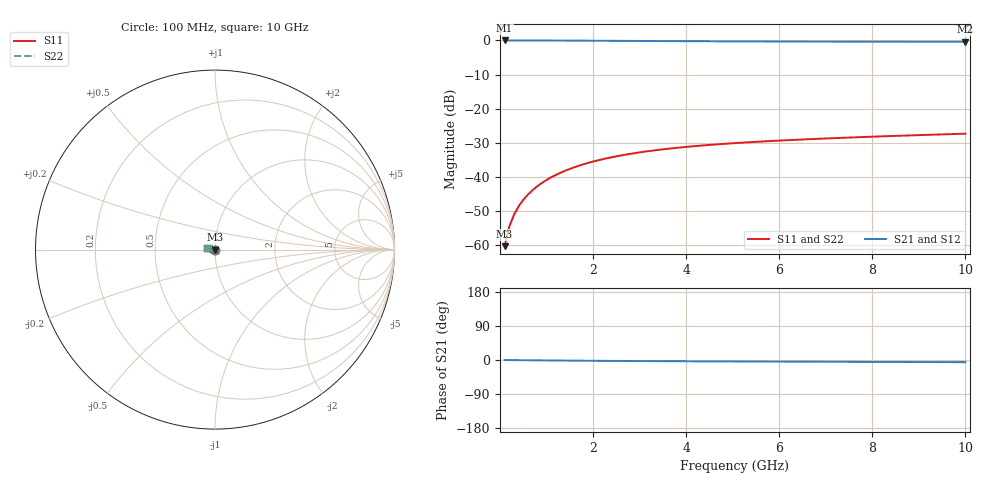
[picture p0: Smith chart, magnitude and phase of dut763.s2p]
! Touchstone file exported from HFSS 2024.1.0
!  File:  C:/UserFiles/LocalFiles/RDL_TSV_Batchsim/temp_TSV1_763_1779872640.aedt
!  Generated:  05:10:53 PM May 27, 2026
!  Design:  TSV1
!  Project:  temp_TSV1_763_1779872640
!  Setup:  Setup1
!  Solution:  Sweep
! Variables:
!  dtsv = 7.04um
!  hbump = 3um
!  htsv = 90.49um
!  lrdl = 252.1521522um
!  p = 40
!  p1 = 44.5um
!  t = 500um
!  trdl = 3um
!  wrdl = 24.89489489um
# GHz S MA R 50.000000
! Terminal data exported
! Port[1] = TSV22_T1
! Port[2] = TSV22_T2
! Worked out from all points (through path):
!   100 points, 100 MHz to 10 GHz, reference 50 ohm
!   highest |S21| = 0.00 dB at 100 MHz (marker M1); lowest = -0.4 dB at 10 GHz (marker M2)
!   lowest |S11| = -60.3 dB at 100 MHz (marker M3), VSWR 1.00, Z = 50 - j0.0921 ohm
!   |S11| at or under -10 dB: start of sweep to end of sweep
!   |S22| runs from -60.3 to -27.3 dB; largest |S21 - S12| = 7.4e-15
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0.1  0.0009636 -72.7  0.9997 -0.1  0.9997 -0.1  0.0009636 -72.7
! Gamma 0 0 0 0
! Port Impedance 50 0 50 0
0.2  0.001866 -83.7  0.9995 -0.2  0.9995 -0.2  0.001866 -83.7
0.3  0.002778 -88.7  0.9994 -0.4  0.9994 -0.4  0.002778 -88.7
0.4  0.00369 -92.1  0.9992 -0.5  0.9992 -0.5  0.00369 -92.1
0.5  0.004596 -94.9  0.9989 -0.6  0.9989 -0.6  0.004596 -94.9
0.6  0.005496 -97.3  0.9986 -0.7  0.9986 -0.7  0.005496 -97.3
0.7  0.006388 -99.6  0.9982 -0.8  0.9982 -0.8  0.006388 -99.6
0.8  0.00727 -101.6  0.9978 -0.9  0.9978 -0.9  0.00727 -101.6
0.9  0.008141 -103.6  0.9974 -1.0  0.9974 -1.0  0.008141 -103.6
1.1  0.009845 -107.5  0.9963 -1.2  0.9963 -1.2  0.009845 -107.5
1.4  0.0123 -112.8  0.9945 -1.5  0.9945 -1.5  0.0123 -112.8
1.6  0.01385 -116.2  0.9931 -1.7  0.9931 -1.7  0.01385 -116.2
1.8  0.01534 -119.5  0.9917 -1.9  0.9917 -1.9  0.01534 -119.5
2.1  0.01744 -124.2  0.9894 -2.2  0.9894 -2.2  0.01744 -124.2
2.5  0.02001 -130.1  0.9863 -2.5  0.9863 -2.5  0.02001 -130.1
2.9  0.02231 -135.6  0.9832 -2.7  0.9832 -2.7  0.02231 -135.6
3.4  0.02485 -142.0  0.9795 -3.0  0.9795 -3.0  0.02485 -142.0
4.2  0.02827 -151.0  0.9742 -3.5  0.9742 -3.5  0.02827 -151.0
5.1  0.0314 -159.9  0.9692 -3.9  0.9692 -3.9  0.0314 -159.9
6.7  0.03582 -173.0  0.9625 -4.5  0.9625 -4.5  0.03582 -173.0
8.4  0.03966 175.7  0.9577 -5.2  0.9577 -5.2  0.03967 175.7
10  0.04295 166.9  0.9545 -5.8  0.9545 -5.8  0.04295 166.9
